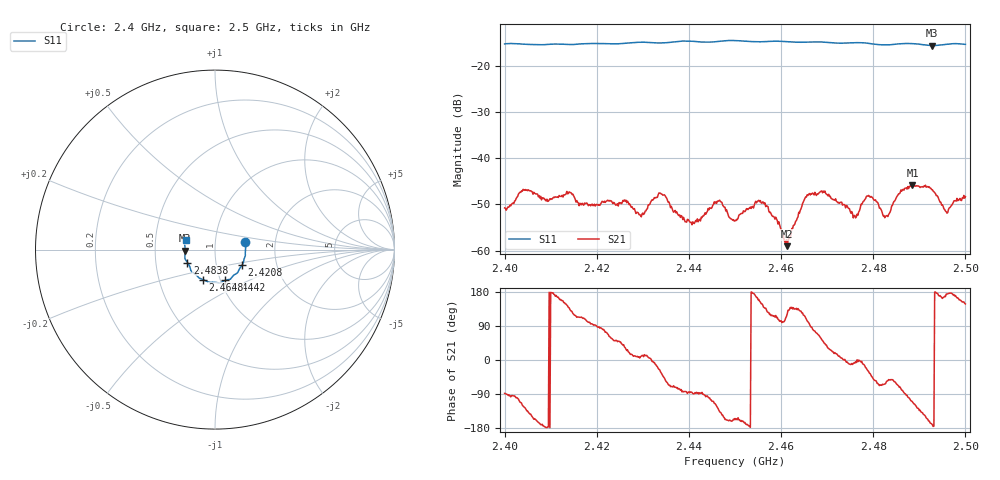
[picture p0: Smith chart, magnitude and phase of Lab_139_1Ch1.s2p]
# Hz S RI R 50
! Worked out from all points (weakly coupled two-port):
!   601 points, 2.4 GHz to 2.5 GHz, reference 50 ohm
!   highest |S21| = -45.77 dB at 2.4885 GHz (marker M1); lowest = -59.0 dB at 2.4613 GHz (marker M2)
!   lowest |S11| = -15.6 dB at 2.4928 GHz (marker M3), VSWR 1.40, Z = 35.8 - j0.372 ohm
!   |S11| at or under -10 dB: start of sweep to end of sweep
!   S12 and S22 are empty: the file has one direction only
!   S11 on the Smith chart (normalised r, x): 2.4 GHz: 1.40, +0.12; 2.4208 GHz: 1.33, -0.24; 2.4442 GHz: 1.05, -0.37; 2.4648 GHz: 0.83, -0.29; 2.4838 GHz: 0.73, -0.11; 2.5 GHz: 0.72, +0.08
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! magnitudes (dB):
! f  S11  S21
! 2.4 GHz  -15.3  -50.7
! 2.4045 GHz  -15.3  -46.8
! 2.4167 GHz  -15.2  -50.1
! 2.4208 GHz  -15.2  -49.9
! 2.4297 GHz  -14.9  -52.7
! 2.4333 GHz  -15.1  -47.9
! 2.4407 GHz  -14.7  -54.4
! 2.4442 GHz  -14.9  -50.9
! 2.4467 GHz  -14.7  -49.1
! 2.45 GHz  -14.5  -53.5
! 2.4557 GHz  -14.8  -49.6
! 2.4613 GHz  -14.8  -59.0
! 2.4648 GHz  -14.9  -49.5
! 2.4667 GHz  -14.8  -47.7
! 2.4762 GHz  -15.0  -52.9
! 2.4792 GHz  -15.2  -48.2
! 2.4833 GHz  -15.5  -52.2
! 2.4838 GHz  -15.4  -51.1
! 2.4885 GHz  -15.2  -45.8
! 2.4928 GHz  -15.6  -46.8
! 2.4958 GHz  -15.3  -51.6
! 2.5 GHz  -15.4  -48.3
